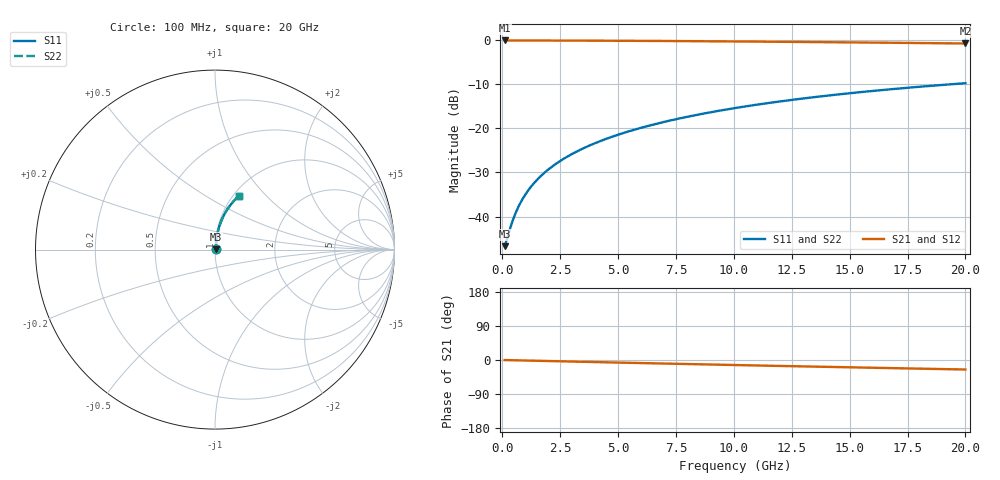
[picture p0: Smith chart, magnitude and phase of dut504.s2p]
! Touchstone file exported from HFSS 2024.1.0
!  File:  C:/UserFiles/LocalFiles/RDL_TSV_Batchsim/temp_RDL_bottom_504_1779687392.aedt
!  Generated:  01:39:06 PM May 25, 2026
!  Design:  RDL_bottom
!  Project:  temp_RDL_bottom_504_1779687392
!  Setup:  Setup1
!  Solution:  Sweep
! Variables:
!  dtsv = 10.80580581um
!  hbump = 3um
!  htsv = 50.08um
!  ldown = 275.63um
!  lrdl = 100um
!  p = 40
!  p1 = 44.86um
!  rhole = 1um
!  t = 450um
!  tdown = 2.17um
!  trdl = 3.915915916um
!  wdown = 11.1um
!  wrdl = 20um
# GHz S MA R 50.000000
! Terminal data exported
! Port[1] = RDL1_T1
! Port[2] = RDL1_T2
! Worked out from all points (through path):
!   200 points, 100 MHz to 20 GHz, reference 50 ohm
!   highest |S21| = -0.04 dB at 100 MHz (marker M1); lowest = -0.7 dB at 20 GHz (marker M2)
!   group delay of S21, straight-line fit = 3.48 ps
!   lowest |S11| = -46.7 dB at 100 MHz (marker M3), VSWR 1.01, Z = 50.4 + j0.176 ohm
!   |S11| at or under -10 dB: start of sweep to 19.33 GHz
!   |S22| runs from -46.7 to -9.7 dB; largest |S21 - S12| = 4.6e-15
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0.1  0.004606 22.3  0.9957 -0.1  0.9957 -0.1  0.004606 22.3
! Gamma 0 0 0 0
! Port Impedance 50 0 50 0
0.2  0.005533 39.2  0.9957 -0.3  0.9957 -0.3  0.005533 39.2
0.4  0.008235 57.7  0.9956 -0.6  0.9956 -0.6  0.008235 57.7
0.6  0.01134 66.4  0.9954 -0.8  0.9954 -0.8  0.01134 66.4
0.7  0.01295 69.0  0.9954 -1.0  0.9954 -1.0  0.01295 69.0
0.9  0.0162 72.7  0.9952 -1.3  0.9952 -1.3  0.0162 72.7
1.2  0.02112 76.0  0.9949 -1.7  0.9949 -1.7  0.02112 76.0
1.4  0.02442 77.4  0.9946 -1.9  0.9946 -1.9  0.02442 77.4
1.7  0.02938 78.9  0.9943 -2.4  0.9943 -2.4  0.02938 78.9
2.2  0.03769 80.3  0.9937 -3.0  0.9937 -3.0  0.03769 80.3
2.8  0.04771 81.2  0.9927 -3.8  0.9927 -3.8  0.04771 81.2
3.5  0.05946 81.7  0.9915 -4.8  0.9915 -4.8  0.05946 81.7
4.2  0.07125 81.7  0.99 -5.7  0.99 -5.7  0.07125 81.7
5  0.08478 81.5  0.988 -6.8  0.988 -6.8  0.08478 81.5
5.9  0.1 81.0  0.9855 -8.0  0.9855 -8.0  0.1 81.0
6.8  0.1153 80.3  0.9827 -9.2  0.9827 -9.2  0.1153 80.3
8.3  0.1407 79.0  0.9774 -11.1  0.9774 -11.1  0.1407 79.0
10.1  0.171 77.2  0.9703 -13.4  0.9703 -13.4  0.171 77.2
11.7  0.1976 75.5  0.9633 -15.4  0.9633 -15.4  0.1976 75.5
13.4  0.2253 73.6  0.9553 -17.4  0.9553 -17.4  0.2253 73.6
16.7  0.277 69.9  0.9383 -21.3  0.9383 -21.3  0.277 69.9
20  0.3258 66.2  0.9198 -25.1  0.9198 -25.1  0.3258 66.2
